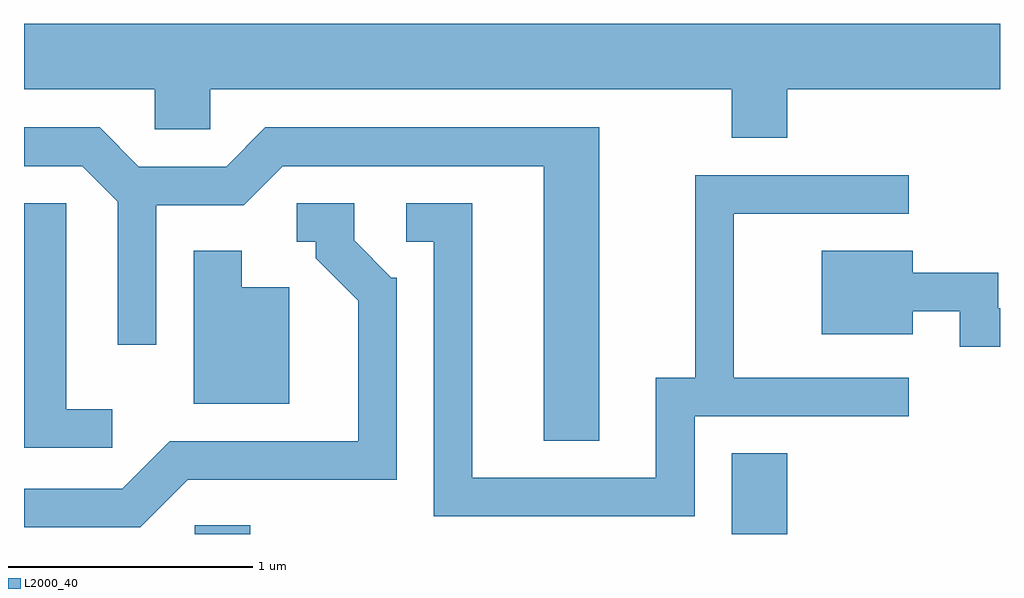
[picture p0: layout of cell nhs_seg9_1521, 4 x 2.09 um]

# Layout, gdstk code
import gdstk
lib = gdstk.Library(unit=1e-6, precision=1e-09)
def R(c, l, rs):  # rectangles x0, y0, x1, y1
    for r in rs: c.add(gdstk.rectangle(r[:2], r[2:], *l))
def P(c, l, *ps):  # polygons
    for p in ps: c.add(gdstk.Polygon(p, *l))
L2000_40 = (2000, 40)

nhs_seg9_1521 = lib.new_cell('nhs_seg9_1521')
R(nhs_seg9_1521, L2000_40, [(230.311,1994.432,230.539,1994.469), (232.511,1994.432,232.739,1994.764)])
P(nhs_seg9_1521, L2000_40, [(232.739,1996.256),(233.611,1996.256),(233.611,1996.524),(229.611,1996.524),(229.611,1996.256),(230.146,1996.256),(230.146,1996.091),(230.374,1996.091),(230.374,1996.256),(232.511,1996.256),(232.511,1996.056),(232.739,1996.056)],
  [(231.969,1996.099),(230.599,1996.099),(230.439,1995.939),(230.082,1995.939),(229.922,1996.099),(229.611,1996.099),(229.611,1995.941),(229.849,1995.941),(229.996,1995.794),(229.996,1995.208),(230.154,1995.208),(230.154,1995.781),(230.512,1995.781),(230.672,1995.941),(231.741,1995.941),(231.741,1994.816),(231.969,1994.816)],
  [(232.359,1994.916),(233.238,1994.916),(233.238,1995.074),(232.519,1995.074),(232.519,1995.746),(233.238,1995.746),(233.238,1995.904),(232.361,1995.904),(232.361,1995.074),(232.201,1995.074),(232.201,1994.664),(231.449,1994.664),(231.449,1995.789),(231.178,1995.789),(231.178,1995.631),(231.291,1995.631),(231.291,1994.506),(232.359,1994.506)],
  [(229.973,1994.944),(229.784,1994.944),(229.784,1995.789),(229.611,1995.789),(229.611,1994.786),(229.973,1994.786)],
  [(230.282,1994.656),(231.139,1994.656),(231.139,1995.484),(231.117,1995.484),(230.964,1995.637),(230.964,1995.789),(230.728,1995.789),(230.728,1995.631),(230.806,1995.631),(230.806,1995.564),(230.981,1995.389),(230.981,1994.814),(230.209,1994.814),(230.014,1994.619),(229.611,1994.619),(229.611,1994.461),(230.087,1994.461)],
  [(233.611,1995.359),(233.604,1995.359),(233.604,1995.504),(233.254,1995.504),(233.254,1995.594),(232.881,1995.594),(232.881,1995.251),(233.254,1995.251),(233.254,1995.346),(233.446,1995.346),(233.446,1995.201),(233.611,1995.201)],
  [(230.699,1995.444),(230.504,1995.444),(230.504,1995.594),(230.306,1995.594),(230.306,1994.966),(230.699,1994.966)])

lib.write_gds('nhs_seg9_1521.gds')
